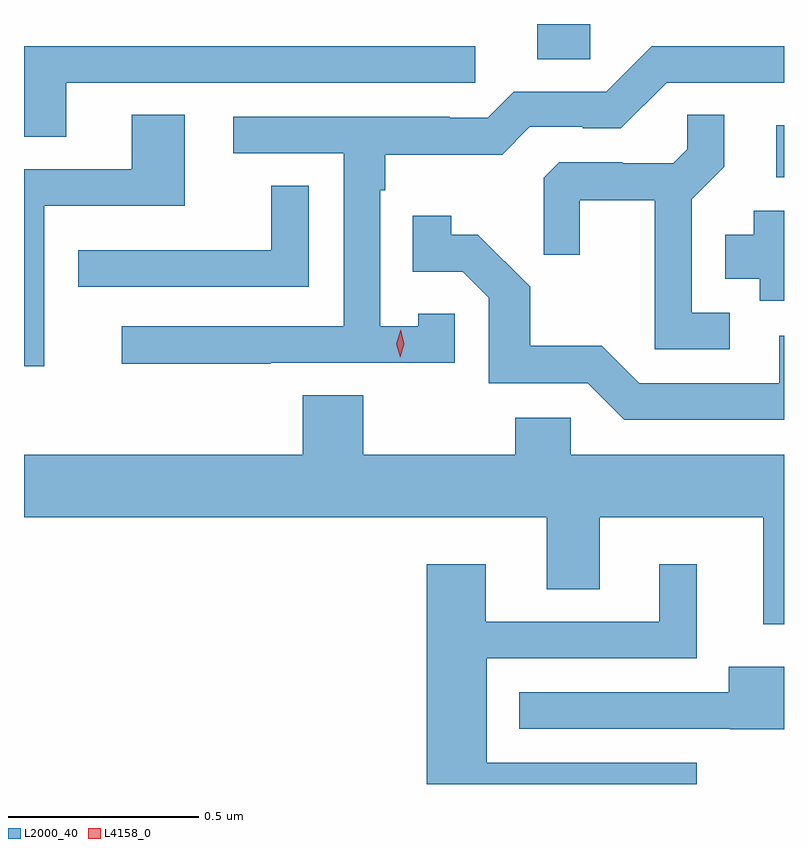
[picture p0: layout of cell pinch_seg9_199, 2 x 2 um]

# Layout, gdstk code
import gdstk
lib = gdstk.Library(unit=1e-6, precision=1e-09)
def R(c, l, rs):  # rectangles x0, y0, x1, y1
    for r in rs: c.add(gdstk.rectangle(r[:2], r[2:], *l))
def P(c, l, *ps):  # polygons
    for p in ps: c.add(gdstk.Polygon(p, *l))
L2000_40 = (2000, 40)
L4158_0 = (4158, 0)

pinch_seg9_199 = lib.new_cell('pinch_seg9_199')
R(pinch_seg9_199, L2000_40, [(533.235,1217.295,533.256,1217.431), (532.607,1217.605,532.746,1217.698)])
P(pinch_seg9_199, L2000_40, [(531.367,1217.544),(532.444,1217.544),(532.444,1217.64),(531.256,1217.64),(531.256,1217.401),(531.367,1217.401)],
  [(531.905,1216.806),(532.389,1216.806),(532.389,1216.935),(532.293,1216.935),(532.293,1216.903),(532.194,1216.903),(532.194,1217.261),(532.207,1217.261),(532.207,1217.354),(532.514,1217.354),(532.587,1217.427),(532.726,1217.427),(532.726,1217.424),(532.827,1217.424),(532.947,1217.544),(533.256,1217.544),(533.256,1217.64),(532.908,1217.64),(532.788,1217.52),(532.545,1217.52),(532.476,1217.451),(532.376,1217.451),(532.376,1217.454),(531.807,1217.454),(531.807,1217.358),(532.098,1217.358),(532.098,1216.902),(531.513,1216.902),(531.513,1216.804),(531.905,1216.804)],
  [(531.309,1217.22),(531.679,1217.22),(531.679,1217.459),(531.539,1217.459),(531.539,1217.316),(531.256,1217.316),(531.256,1216.797),(531.309,1216.797)],
  [(533.113,1216.938),(533.013,1216.938),(533.013,1217.237),(533.099,1217.323),(533.099,1217.459),(533.001,1217.459),(533.001,1217.368),(532.964,1217.331),(532.83,1217.331),(532.83,1217.334),(532.665,1217.334),(532.624,1217.293),(532.624,1217.091),(532.718,1217.091),(532.718,1217.234),(532.916,1217.234),(532.916,1216.842),(533.113,1216.842)],
  [(532.005,1217.273),(531.907,1217.273),(531.907,1217.103),(531.511,1217.103),(531.511,1217.102),(531.399,1217.102),(531.399,1217.007),(532.005,1217.007)],
  [(533.256,1217.206),(533.177,1217.206),(533.177,1217.143),(533.102,1217.143),(533.102,1217.027),(533.192,1217.027),(533.192,1216.97),(533.256,1216.97)],
  [(533.256,1216.878),(533.243,1216.878),(533.243,1216.752),(532.875,1216.752),(532.777,1216.851),(532.588,1216.851),(532.588,1217.006),(532.45,1217.144),(532.38,1217.144),(532.38,1217.194),(532.279,1217.194),(532.279,1217.046),(532.41,1217.046),(532.479,1216.977),(532.479,1216.752),(532.74,1216.752),(532.836,1216.656),(533.256,1216.656)],
  [(533.256,1216.564),(532.695,1216.564),(532.695,1216.662),(532.549,1216.662),(532.549,1216.564),(532.149,1216.564),(532.149,1216.721),(531.989,1216.721),(531.989,1216.564),(531.256,1216.564),(531.256,1216.4),(532.631,1216.4),(532.631,1216.21),(532.771,1216.21),(532.771,1216.4),(533.201,1216.4),(533.201,1216.119),(533.256,1216.119)],
  [(533.026,1215.754),(532.474,1215.754),(532.474,1216.029),(533.026,1216.029),(533.026,1216.276),(532.928,1216.276),(532.928,1216.125),(532.471,1216.125),(532.471,1216.276),(532.316,1216.276),(532.316,1215.698),(533.026,1215.698)],
  [(533.256,1216.006),(533.111,1216.006),(533.111,1215.939),(532.559,1215.939),(532.559,1215.843),(533.115,1215.843),(533.115,1215.842),(533.256,1215.842)])
P(pinch_seg9_199, L4158_0, [(532.246,1216.821),(532.246,1216.821),(532.236,1216.857),(532.247,1216.893),(532.247,1216.893),(532.247,1216.893),(532.256,1216.857),(532.246,1216.821)])

lib.write_gds('pinch_seg9_199.gds')
